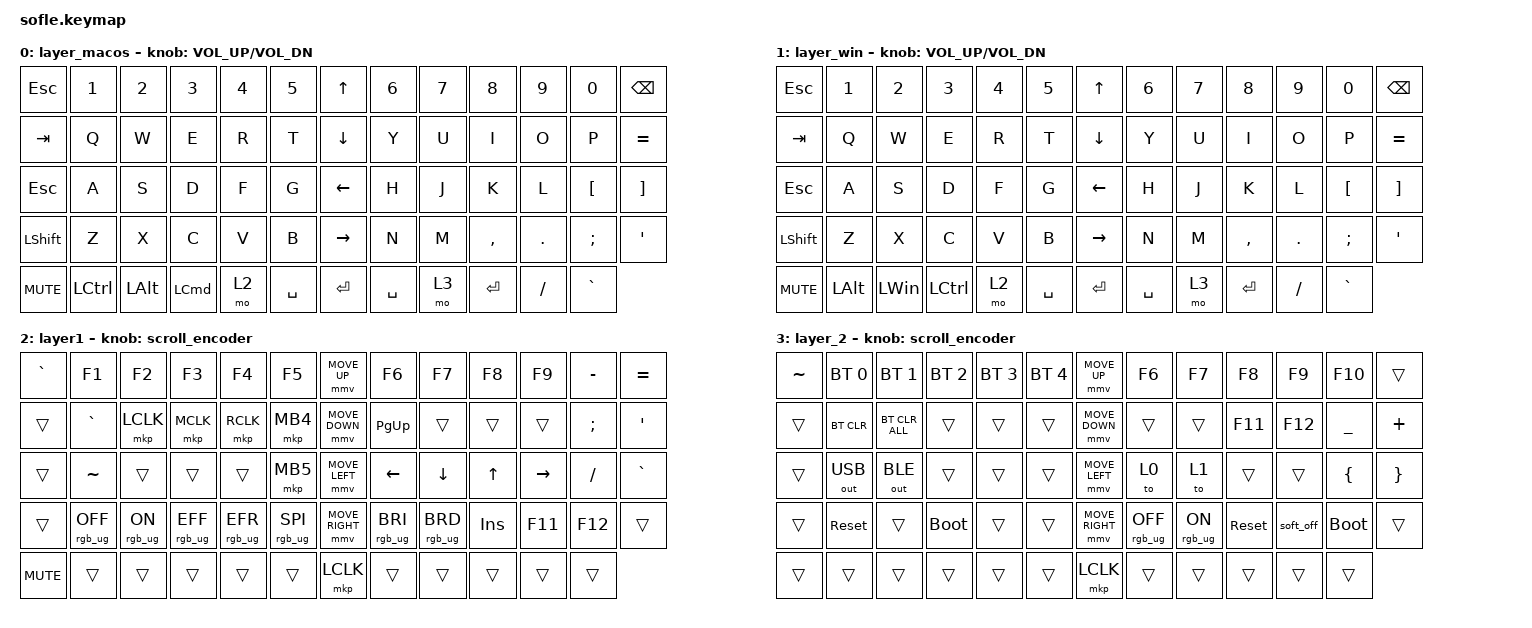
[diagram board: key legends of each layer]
#include <behaviors/mouse_keys.dtsi>
#include <behaviors.dtsi>
#include <dt-bindings/zmk/bt.h>
#include <dt-bindings/zmk/keys.h>
#include <dt-bindings/zmk/mouse.h>
#include <dt-bindings/zmk/outputs.h>
#include <dt-bindings/zmk/rgb.h>

#define ZMK_MOUSE_DEFAULT_MOVE_VAL 1200  // 600
#define ZMK_MOUSE_DEFAULT_SCRL_VAL 20    // 10
#define U_MS_U &mmv MOVE_UP
#define U_MS_D &mmv MOVE_DOWN
#define U_MS_L &mmv MOVE_LEFT
#define U_MS_R &mmv MOVE_RIGHT
#define ZMK_MOUSE_DEFAULT_MOVE_VAL 1200  //  600
#define ZMK_MOUSE_DEFAULT_SCRL_VAL 20    // 10

/ {
    behaviors {
        mmv {
            acceleration-exponent = <1>;      // 1
            time-to-max-speed-ms = <900>;    // 40
            delay-ms = <0>;                   // 0
        };

        msc {
            acceleration-exponent = <1>;      // 0
            time-to-max-speed-ms = <400>;      // 500
            delay-ms = <0>;                   //   10
        };
    };

    scroll_encoder: scroll_encoder {
        compatible = "zmk,behavior-sensor-rotate";
        #sensor-binding-cells = <0>;
        bindings = <&msc SCRL_DOWN>, <&msc SCRL_UP>;

        tap-ms = <30>;
    };

    keymap {
        compatible = "zmk,keymap";

        macos {
            bindings = <
&kp ESCAPE  &kp N1     &kp N2        &kp N3            &kp N4  &kp N5       &kp UP_ARROW     &kp N6     &kp N7  &kp N8     &kp N9     &kp N0            &kp BACKSPACE
&kp TAB     &kp Q      &kp W         &kp E             &kp R   &kp T        &kp DOWN_ARROW   &kp Y      &kp U   &kp I      &kp O      &kp P             &kp EQUAL
&kp ESCAPE  &kp A      &kp S         &kp D             &kp F   &kp G        &kp LEFT_ARROW   &kp H      &kp J   &kp K      &kp L      &kp LEFT_BRACKET  &kp RIGHT_BRACKET
&kp LSHFT   &kp Z      &kp X         &kp C             &kp V   &kp B        &kp RIGHT_ARROW  &kp N      &kp M   &kp COMMA  &kp DOT    &kp SEMICOLON     &kp SQT
&kp C_MUTE  &kp LCTRL  &kp LEFT_ALT  &kp LEFT_COMMAND  &mo 2   &kp SPACE    &kp ENTER        &kp SPACE  &mo 3   &kp ENTER  &kp SLASH  &kp GRAVE
            >;

            sensor-bindings = <&inc_dec_kp C_VOLUME_UP C_VOL_DN>;
            display-name = "layer_macos";
        };

        windows {
            display-name = "layer_win";
            bindings = <
&kp ESCAPE  &kp N1        &kp N2        &kp N3     &kp N4  &kp N5       &kp UP_ARROW     &kp N6     &kp N7  &kp N8     &kp N9     &kp N0            &kp BACKSPACE
&kp TAB     &kp Q         &kp W         &kp E      &kp R   &kp T        &kp DOWN_ARROW   &kp Y      &kp U   &kp I      &kp O      &kp P             &kp EQUAL
&kp ESCAPE  &kp A         &kp S         &kp D      &kp F   &kp G        &kp LEFT_ARROW   &kp H      &kp J   &kp K      &kp L      &kp LEFT_BRACKET  &kp RIGHT_BRACKET
&kp LSHFT   &kp Z         &kp X         &kp C      &kp V   &kp B        &kp RIGHT_ARROW  &kp N      &kp M   &kp COMMA  &kp DOT    &kp SEMICOLON     &kp SQT
&kp C_MUTE  &kp LEFT_ALT  &kp LEFT_WIN  &kp LCTRL  &mo 2   &kp SPACE    &kp ENTER        &kp SPACE  &mo 3   &kp ENTER  &kp SLASH  &kp GRAVE
            >;

            sensor-bindings = <&inc_dec_kp C_VOLUME_UP C_VOL_DN>;
        };

        layer_1 {
            bindings = <
&kp GRAVE   &kp F1           &kp F2          &kp F3           &kp F4           &kp F5             &mmv MOVE_UP     &kp F6           &kp F7           &kp F8        &kp F9     &kp MINUS      &kp EQUAL
&trans      &kp GRAVE        &mkp LCLK       &mkp MCLK        &mkp RCLK        &mkp MB4           &mmv MOVE_DOWN   &kp PG_UP        &trans           &trans        &trans     &kp SEMICOLON  &kp SQT
&trans      &kp TILDE        &trans          &trans           &trans           &mkp MB5           &mmv MOVE_LEFT   &kp LEFT         &kp DOWN         &kp UP_ARROW  &kp RIGHT  &kp SLASH      &kp GRAVE
&trans      &rgb_ug RGB_OFF  &rgb_ug RGB_ON  &rgb_ug RGB_EFF  &rgb_ug RGB_EFR  &rgb_ug RGB_SPI    &mmv MOVE_RIGHT  &rgb_ug RGB_BRI  &rgb_ug RGB_BRD  &kp INSERT    &kp F11    &kp F12        &trans
&kp C_MUTE  &trans           &trans          &trans           &trans           &trans             &mkp LCLK        &trans           &trans           &trans        &trans     &trans
            >;

            display-name = "layer1";
            sensor-bindings = <&scroll_encoder>;
        };

        layer_2 {
            bindings = <
&kp TILDE  &bt BT_SEL 0  &bt BT_SEL 1    &bt BT_SEL 2  &bt BT_SEL 3  &bt BT_SEL 4    &mmv MOVE_UP     &kp F6           &kp F7          &kp F8      &kp F9     &kp F10      &trans
&trans     &bt BT_CLR    &bt BT_CLR_ALL  &trans        &trans        &trans          &mmv MOVE_DOWN   &trans           &trans          &kp F11     &kp F12    &kp UNDER    &kp PLUS
&trans     &out OUT_USB  &out OUT_BLE    &trans        &trans        &trans          &mmv MOVE_LEFT   &to 0            &to 1           &trans      &trans     &kp LBRC     &kp RBRC
&trans     &sys_reset    &trans          &bootloader   &trans        &trans          &mmv MOVE_RIGHT  &rgb_ug RGB_OFF  &rgb_ug RGB_ON  &sys_reset  &soft_off  &bootloader  &trans
&trans     &trans        &trans          &trans        &trans        &trans          &mkp LCLK        &trans           &trans          &trans      &trans     &trans
            >;

            sensor-bindings = <&scroll_encoder>;
        };
    };
};
